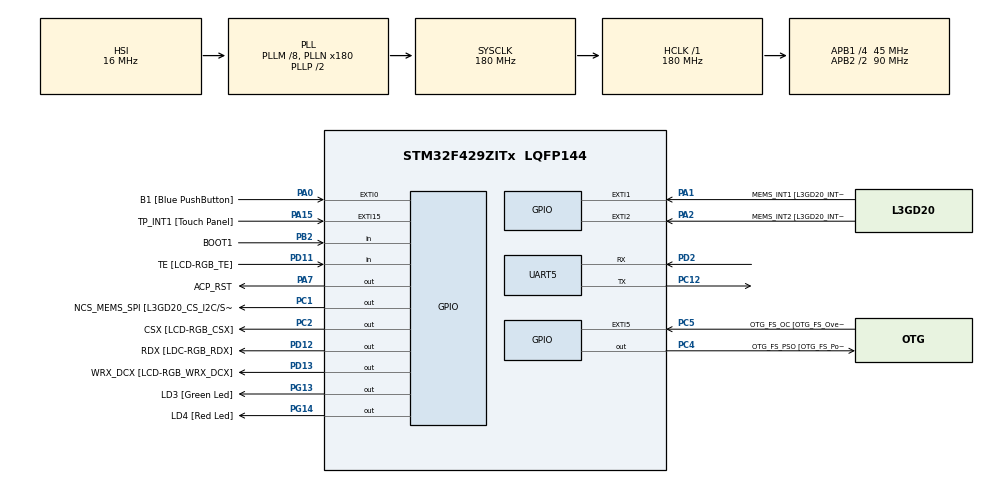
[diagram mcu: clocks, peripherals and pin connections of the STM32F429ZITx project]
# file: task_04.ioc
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FREERTOS.BinarySemaphores01=semFull,Dynamic,NULL;semEmpty,Dynamic,NULL
FREERTOS.Mutexes01=mutex01,Dynamic,NULL
FREERTOS.Tasks01=producer,24,128,producerTask,Default,NULL,Dynamic,NULL,NULL;consumer,24,128,consumerTask,Default,NULL,Dynamic,NULL,NULL
Mcu.Family=STM32F4
Mcu.Name=STM32F429ZITx
Mcu.Package=LQFP144
NVIC.PriorityGroup=NVIC_PRIORITYGROUP_4
PA0/WKUP.GPIO_Label=B1 [Blue PushButton]
PA0/WKUP.GPIO_ModeDefaultEXTI=GPIO_MODE_EVT_RISING
PA0/WKUP.GPIO_PuPd=GPIO_NOPULL
PA0/WKUP.Signal=GPXTI0
PA1.GPIO_Label=MEMS_INT1 [L3GD20_INT1]
PA1.GPIO_ModeDefaultEXTI=GPIO_MODE_EVT_RISING
PA1.GPIO_PuPd=GPIO_NOPULL
PA1.Signal=GPXTI1
PA10.GPIO_Label=STLINK_TX [STM32F103CBT6_PA2]
PA10.Signal=USART1_RX
PA11.GPIO_Label=R4
PA11.GPIO_Mode=GPIO_MODE_AF_PP
PA11.GPIO_PuPd=GPIO_NOPULL
PA11.GPIO_Speed=GPIO_SPEED_FREQ_LOW
PA11.Signal=LTDC_R4
PA12.GPIO_Label=R5
PA12.GPIO_Mode=GPIO_MODE_AF_PP
PA12.GPIO_PuPd=GPIO_NOPULL
PA12.GPIO_Speed=GPIO_SPEED_FREQ_LOW
PA12.Signal=LTDC_R5
PA13.GPIO_Label=SWDIO
PA13.Signal=SYS_JTMS-SWDIO
PA14.GPIO_Label=SWCLK
PA14.Signal=SYS_JTCK-SWCLK
PA15.GPIO_Label=TP_INT1 [Touch Panel]
PA15.GPIO_ModeDefaultEXTI=GPIO_MODE_EVT_RISING
PA15.GPIO_PuPd=GPIO_NOPULL
PA15.Signal=GPXTI15
PA2.GPIO_Label=MEMS_INT2 [L3GD20_INT2]
PA2.GPIO_ModeDefaultEXTI=GPIO_MODE_EVT_RISING
PA2.GPIO_PuPd=GPIO_NOPULL
PA2.Signal=GPXTI2
PA3.GPIO_Label=B5
PA3.GPIO_Mode=GPIO_MODE_AF_PP
PA3.GPIO_PuPd=GPIO_NOPULL
PA3.GPIO_Speed=GPIO_SPEED_FREQ_LOW
PA3.Signal=LTDC_B5
PA4.GPIO_Label=VSYNC
PA4.GPIO_Mode=GPIO_MODE_AF_PP
PA4.GPIO_PuPd=GPIO_NOPULL
PA4.GPIO_Speed=GPIO_SPEED_FREQ_LOW
PA4.Signal=LTDC_VSYNC
PA6.GPIO_Label=G2
PA6.GPIO_Mode=GPIO_MODE_AF_PP
PA6.GPIO_PuPd=GPIO_NOPULL
PA6.GPIO_Speed=GPIO_SPEED_FREQ_LOW
PA6.Signal=LTDC_G2
PA7.GPIO_Label=ACP_RST
PA7.GPIO_Mode=GPIO_MODE_OUTPUT_PP
PA7.GPIO_PuPd=GPIO_NOPULL
PA7.GPIO_Speed=GPIO_SPEED_FREQ_LOW
PA7.Signal=GPIO_Output
PA8.GPIO_Label=I2C3_SCL [ACP/RF_SCL]
PA8.GPIO_Mode=GPIO_MODE_AF_OD
PA8.GPIO_PuPd=GPIO_NOPULL
PA8.GPIO_Speed=GPIO_SPEED_FREQ_LOW
PA8.Signal=I2C3_SCL
PA9.GPIO_Label=STLINK_RX [STM32F103CBT6_PA3]
PA9.Signal=USART1_TX
PB0.GPIO_Label=R3
PB0.GPIO_Mode=GPIO_MODE_AF_PP
PB0.GPIO_PuPd=GPIO_NOPULL
PB0.GPIO_Speed=GPIO_SPEED_FREQ_LOW
PB0.Signal=LTDC_R3
PB1.GPIO_Label=R6
PB1.GPIO_Mode=GPIO_MODE_AF_PP
PB1.GPIO_PuPd=GPIO_NOPULL
PB1.GPIO_Speed=GPIO_SPEED_FREQ_LOW
PB1.Signal=LTDC_R6
PB10.GPIO_Label=G4
PB10.GPIO_Mode=GPIO_MODE_AF_PP
PB10.GPIO_PuPd=GPIO_NOPULL
PB10.GPIO_Speed=GPIO_SPEED_FREQ_LOW
PB10.Signal=LTDC_G4
PB11.GPIO_Label=G5
PB11.GPIO_Mode=GPIO_MODE_AF_PP
PB11.GPIO_PuPd=GPIO_NOPULL
PB11.GPIO_Speed=GPIO_SPEED_FREQ_LOW
PB11.Signal=LTDC_G5
PB12.GPIO_Label=OTG_HS_ID
PB12.GPIO_Mode=GPIO_MODE_AF_PP
PB12.GPIO_PuPd=GPIO_NOPULL
PB12.GPIO_Speed=GPIO_SPEED_FREQ_LOW
PB12.Signal=USB_OTG_HS_ID
PB13.GPIO_Label=VBUS_HS
PB13.GPIO_Mode=GPIO_MODE_INPUT
PB13.GPIO_PuPd=GPIO_NOPULL
PB13.Signal=USB_OTG_HS_VBUS
PB14.GPIO_Label=OTG_HS_DM
PB14.GPIO_Mode=GPIO_MODE_AF_PP
PB14.GPIO_PuPd=GPIO_NOPULL
PB14.GPIO_Speed=GPIO_SPEED_FREQ_LOW
PB14.Signal=USB_OTG_HS_DM
PB15.GPIO_Label=OTG_HS_DP
PB15.GPIO_Mode=GPIO_MODE_AF_PP
PB15.GPIO_PuPd=GPIO_NOPULL
PB15.GPIO_Speed=GPIO_SPEED_FREQ_LOW
PB15.Signal=USB_OTG_HS_DP
PB2/BOOT1.GPIO_Label=BOOT1
PB2/BOOT1.GPIO_Mode=GPIO_MODE_INPUT
PB2/BOOT1.GPIO_PuPd=GPIO_NOPULL
PB2/BOOT1.Signal=GPIO_Input
PB5.GPIO_Label=SDCKE1
PB5.GPIO_Mode=GPIO_MODE_AF_PP
PB5.GPIO_PuPd=GPIO_NOPULL
PB5.GPIO_Speed=GPIO_SPEED_FREQ_VERY_HIGH
PB5.Signal=FMC_SDCKE1
PB6.GPIO_Label=SDNE1 [SDRAM_CS]
PB6.GPIO_Mode=GPIO_MODE_AF_PP
PB6.GPIO_PuPd=GPIO_NOPULL
PB6.GPIO_Speed=GPIO_SPEED_FREQ_VERY_HIGH
PB6.Signal=FMC_SDNE1
PB8.GPIO_Label=B6
PB8.GPIO_Mode=GPIO_MODE_AF_PP
PB8.GPIO_PuPd=GPIO_NOPULL
PB8.GPIO_Speed=GPIO_SPEED_FREQ_LOW
PB8.Signal=LTDC_B6
PB9.GPIO_Label=B7
PB9.GPIO_Mode=GPIO_MODE_AF_PP
PB9.GPIO_PuPd=GPIO_NOPULL
PB9.GPIO_Speed=GPIO_SPEED_FREQ_LOW
PB9.Signal=LTDC_B7
PC0.GPIO_Label=SDNWE
PC0.GPIO_Mode=GPIO_MODE_AF_PP
PC0.GPIO_PuPd=GPIO_NOPULL
PC0.GPIO_Speed=GPIO_SPEED_FREQ_VERY_HIGH
PC0.Signal=FMC_SDNWE
PC1.GPIO_Label=NCS_MEMS_SPI [L3GD20_CS_I2C/SPI]
PC1.GPIO_Mode=GPIO_MODE_OUTPUT_PP
PC1.GPIO_PuPd=GPIO_NOPULL
PC1.GPIO_Speed=GPIO_SPEED_FREQ_LOW
PC1.Signal=GPIO_Output
PC10.GPIO_Label=R2
PC10.GPIO_Mode=GPIO_MODE_AF_PP
PC10.GPIO_PuPd=GPIO_NOPULL
PC10.GPIO_Speed=GPIO_SPEED_FREQ_LOW
PC10.Signal=LTDC_R2
PC12.Mode=Asynchronous
PC12.Signal=UART5_TX
PC14/OSC32_IN.GPIO_Label=PC14-OSC32_IN
PC14/OSC32_IN.Signal=RCC_OSC32_IN
PC15/OSC32_OUT.GPIO_Label=PC15-OSC32_OUT
PC15/OSC32_OUT.Signal=RCC_OSC32_OUT
PC2.GPIO_Label=CSX [LCD-RGB_CSX]
PC2.GPIO_Mode=GPIO_MODE_OUTPUT_PP
PC2.GPIO_PuPd=GPIO_NOPULL
PC2.GPIO_Speed=GPIO_SPEED_FREQ_LOW
PC2.Signal=GPIO_Output
PC4.GPIO_Label=OTG_FS_PSO [OTG_FS_PowerSwitchOn]
PC4.GPIO_Mode=GPIO_MODE_OUTPUT_PP
PC4.GPIO_PuPd=GPIO_NOPULL
PC4.GPIO_Speed=GPIO_SPEED_FREQ_LOW
PC4.Signal=GPIO_Output
PC5.GPIO_Label=OTG_FS_OC [OTG_FS_OverCurrent]
PC5.GPIO_ModeDefaultEXTI=GPIO_MODE_EVT_RISING
PC5.Signal=GPXTI5
PC6.GPIO_Label=HSYNC
PC6.GPIO_Mode=GPIO_MODE_AF_PP
PC6.GPIO_PuPd=GPIO_NOPULL
PC6.GPIO_Speed=GPIO_SPEED_FREQ_LOW
PC6.Signal=LTDC_HSYNC
PC7.GPIO_Label=G6
PC7.GPIO_Mode=GPIO_MODE_AF_PP
PC7.GPIO_PuPd=GPIO_NOPULL
PC7.GPIO_Speed=GPIO_SPEED_FREQ_LOW
PC7.Signal=LTDC_G6
PC9.GPIO_Label=I2C3_SDA [ACP/RF_SDA]
PC9.GPIO_Mode=GPIO_MODE_AF_OD
PC9.GPIO_PuPd=GPIO_NOPULL
PC9.GPIO_Speed=GPIO_SPEED_FREQ_LOW
PC9.Signal=I2C3_SDA
PD0.GPIO_Label=D2
PD0.GPIO_Mode=GPIO_MODE_AF_PP
PD0.GPIO_PuPd=GPIO_NOPULL
PD0.GPIO_Speed=GPIO_SPEED_FREQ_VERY_HIGH
PD0.Signal=FMC_D2_DA2
PD1.GPIO_Label=D3
PD1.GPIO_Mode=GPIO_MODE_AF_PP
PD1.GPIO_PuPd=GPIO_NOPULL
PD1.GPIO_Speed=GPIO_SPEED_FREQ_VERY_HIGH
PD1.Signal=FMC_D3_DA3
PD10.GPIO_Label=D15
PD10.GPIO_Mode=GPIO_MODE_AF_PP
PD10.GPIO_PuPd=GPIO_NOPULL
PD10.GPIO_Speed=GPIO_SPEED_FREQ_VERY_HIGH
PD10.Signal=FMC_D15_DA15
PD11.GPIO_Label=TE [LCD-RGB_TE]
PD11.GPIO_Mode=GPIO_MODE_INPUT
PD11.GPIO_PuPd=GPIO_NOPULL
PD11.Signal=GPIO_Input
PD12.GPIO_Label=RDX [LDC-RGB_RDX]
PD12.GPIO_Mode=GPIO_MODE_OUTPUT_PP
PD12.GPIO_PuPd=GPIO_NOPULL
PD12.GPIO_Speed=GPIO_SPEED_FREQ_LOW
PD12.Signal=GPIO_Output
PD13.GPIO_Label=WRX_DCX [LCD-RGB_WRX_DCX]
PD13.GPIO_Mode=GPIO_MODE_OUTPUT_PP
PD13.GPIO_PuPd=GPIO_NOPULL
PD13.GPIO_Speed=GPIO_SPEED_FREQ_LOW
PD13.Signal=GPIO_Output
PD14.GPIO_Label=D0
PD14.GPIO_Mode=GPIO_MODE_AF_PP
PD14.GPIO_PuPd=GPIO_NOPULL
PD14.GPIO_Speed=GPIO_SPEED_FREQ_VERY_HIGH
PD14.Signal=FMC_D0_DA0
PD15.GPIO_Label=D1
PD15.GPIO_Mode=GPIO_MODE_AF_PP
PD15.GPIO_PuPd=GPIO_NOPULL
PD15.GPIO_Speed=GPIO_SPEED_FREQ_VERY_HIGH
PD15.Signal=FMC_D1_DA1
PD2.Mode=Asynchronous
PD2.Signal=UART5_RX
PD3.GPIO_Label=G7
PD3.GPIO_Mode=GPIO_MODE_AF_PP
PD3.GPIO_PuPd=GPIO_NOPULL
PD3.GPIO_Speed=GPIO_SPEED_FREQ_LOW
PD3.Signal=LTDC_G7
PD6.GPIO_Label=B2
PD6.GPIO_Mode=GPIO_MODE_AF_PP
PD6.GPIO_PuPd=GPIO_NOPULL
PD6.GPIO_Speed=GPIO_SPEED_FREQ_LOW
PD6.Signal=LTDC_B2
PD8.GPIO_Label=D13
PD8.GPIO_Mode=GPIO_MODE_AF_PP
PD8.GPIO_PuPd=GPIO_NOPULL
PD8.GPIO_Speed=GPIO_SPEED_FREQ_VERY_HIGH
PD8.Signal=FMC_D13_DA13
PD9.GPIO_Label=D14
PD9.GPIO_Mode=GPIO_MODE_AF_PP
PD9.GPIO_PuPd=GPIO_NOPULL
PD9.GPIO_Speed=GPIO_SPEED_FREQ_VERY_HIGH
PD9.Signal=FMC_D14_DA14
PE0.GPIO_Label=NBL0 [SDRAM_LDQM]
PE0.GPIO_Mode=GPIO_MODE_AF_PP
PE0.GPIO_PuPd=GPIO_NOPULL
PE0.GPIO_Speed=GPIO_SPEED_FREQ_VERY_HIGH
PE0.Signal=FMC_NBL0
PE1.GPIO_Label=NBL1 [SDRAM_UDQM]
PE1.GPIO_Mode=GPIO_MODE_AF_PP
PE1.GPIO_PuPd=GPIO_NOPULL
PE1.GPIO_Speed=GPIO_SPEED_FREQ_VERY_HIGH
PE1.Signal=FMC_NBL1
PE10.GPIO_Label=D7
PE10.GPIO_Mode=GPIO_MODE_AF_PP
PE10.GPIO_PuPd=GPIO_NOPULL
PE10.GPIO_Speed=GPIO_SPEED_FREQ_VERY_HIGH
PE10.Signal=FMC_D7_DA7
PE11.GPIO_Label=D8
PE11.GPIO_Mode=GPIO_MODE_AF_PP
PE11.GPIO_PuPd=GPIO_NOPULL
PE11.GPIO_Speed=GPIO_SPEED_FREQ_VERY_HIGH
PE11.Signal=FMC_D8_DA8
PE12.GPIO_Label=D9
PE12.GPIO_Mode=GPIO_MODE_AF_PP
PE12.GPIO_PuPd=GPIO_NOPULL
PE12.GPIO_Speed=GPIO_SPEED_FREQ_VERY_HIGH
PE12.Signal=FMC_D9_DA9
PE13.GPIO_Label=D10
PE13.GPIO_Mode=GPIO_MODE_AF_PP
PE13.GPIO_PuPd=GPIO_NOPULL
PE13.GPIO_Speed=GPIO_SPEED_FREQ_VERY_HIGH
PE13.Signal=FMC_D10_DA10
PE14.GPIO_Label=D11
PE14.GPIO_Mode=GPIO_MODE_AF_PP
PE14.GPIO_PuPd=GPIO_NOPULL
PE14.GPIO_Speed=GPIO_SPEED_FREQ_VERY_HIGH
PE14.Signal=FMC_D11_DA11
PE15.GPIO_Label=D12
PE15.GPIO_Mode=GPIO_MODE_AF_PP
PE15.GPIO_PuPd=GPIO_NOPULL
PE15.GPIO_Speed=GPIO_SPEED_FREQ_VERY_HIGH
PE15.Signal=FMC_D12_DA12
PE7.GPIO_Label=D4
PE7.GPIO_Mode=GPIO_MODE_AF_PP
PE7.GPIO_PuPd=GPIO_NOPULL
PE7.GPIO_Speed=GPIO_SPEED_FREQ_VERY_HIGH
PE7.Signal=FMC_D4_DA4
PE8.GPIO_Label=D5
PE8.GPIO_Mode=GPIO_MODE_AF_PP
PE8.GPIO_PuPd=GPIO_NOPULL
PE8.GPIO_Speed=GPIO_SPEED_FREQ_VERY_HIGH
PE8.Signal=FMC_D5_DA5
PE9.GPIO_Label=D6
PE9.GPIO_Mode=GPIO_MODE_AF_PP
PE9.GPIO_PuPd=GPIO_NOPULL
PE9.GPIO_Speed=GPIO_SPEED_FREQ_VERY_HIGH
PE9.Signal=FMC_D6_DA6
PF0.GPIO_Label=A0
PF0.GPIO_Mode=GPIO_MODE_AF_PP
PF0.GPIO_PuPd=GPIO_NOPULL
PF0.GPIO_Speed=GPIO_SPEED_FREQ_VERY_HIGH
PF0.Signal=FMC_A0
PF1.GPIO_Label=A1
PF1.GPIO_Mode=GPIO_MODE_AF_PP
PF1.GPIO_PuPd=GPIO_NOPULL
PF1.GPIO_Speed=GPIO_SPEED_FREQ_VERY_HIGH
PF1.Signal=FMC_A1
PF10.GPIO_Label=ENABLE [LCD-RGB_ENABLE]
PF10.GPIO_Mode=GPIO_MODE_AF_PP
PF10.GPIO_PuPd=GPIO_NOPULL
PF10.GPIO_Speed=GPIO_SPEED_FREQ_LOW
PF10.Signal=LTDC_DE
PF11.GPIO_Label=SDNRAS
PF11.GPIO_Mode=GPIO_MODE_AF_PP
PF11.GPIO_PuPd=GPIO_NOPULL
PF11.GPIO_Speed=GPIO_SPEED_FREQ_VERY_HIGH
PF11.Signal=FMC_SDNRAS
PF12.GPIO_Label=A6
PF12.GPIO_Mode=GPIO_MODE_AF_PP
PF12.GPIO_PuPd=GPIO_NOPULL
PF12.GPIO_Speed=GPIO_SPEED_FREQ_VERY_HIGH
PF12.Signal=FMC_A6
PF13.GPIO_Label=A7
PF13.GPIO_Mode=GPIO_MODE_AF_PP
PF13.GPIO_PuPd=GPIO_NOPULL
PF13.GPIO_Speed=GPIO_SPEED_FREQ_VERY_HIGH
PF13.Signal=FMC_A7
PF14.GPIO_Label=A8
PF14.GPIO_Mode=GPIO_MODE_AF_PP
PF14.GPIO_PuPd=GPIO_NOPULL
PF14.GPIO_Speed=GPIO_SPEED_FREQ_VERY_HIGH
PF14.Signal=FMC_A8
PF15.GPIO_Label=A9
PF15.GPIO_Mode=GPIO_MODE_AF_PP
PF15.GPIO_PuPd=GPIO_NOPULL
PF15.GPIO_Speed=GPIO_SPEED_FREQ_VERY_HIGH
PF15.Signal=FMC_A9
PF2.GPIO_Label=A2
PF2.GPIO_Mode=GPIO_MODE_AF_PP
PF2.GPIO_PuPd=GPIO_NOPULL
PF2.GPIO_Speed=GPIO_SPEED_FREQ_VERY_HIGH
PF2.Signal=FMC_A2
PF3.GPIO_Label=A3
PF3.GPIO_Mode=GPIO_MODE_AF_PP
PF3.GPIO_PuPd=GPIO_NOPULL
PF3.GPIO_Speed=GPIO_SPEED_FREQ_VERY_HIGH
PF3.Signal=FMC_A3
PF4.GPIO_Label=A4
PF4.GPIO_Mode=GPIO_MODE_AF_PP
PF4.GPIO_PuPd=GPIO_NOPULL
PF4.GPIO_Speed=GPIO_SPEED_FREQ_VERY_HIGH
PF4.Signal=FMC_A4
PF5.GPIO_Label=A5
PF5.GPIO_Mode=GPIO_MODE_AF_PP
PF5.GPIO_PuPd=GPIO_NOPULL
PF5.GPIO_Speed=GPIO_SPEED_FREQ_VERY_HIGH
PF5.Signal=FMC_A5
PF7.GPIO_Label=SPI5_SCK [L3GD20_SCL/SPC]
PF7.GPIO_Mode=GPIO_MODE_AF_PP
PF7.GPIO_PuPd=GPIO_NOPULL
PF7.GPIO_Speed=GPIO_SPEED_FREQ_LOW
PF7.Signal=SPI5_SCK
PF8.GPIO_Label=SPI5_MISO [L3GD20_SDO]
PF8.GPIO_Mode=GPIO_MODE_AF_PP
PF8.GPIO_PuPd=GPIO_NOPULL
PF8.GPIO_Speed=GPIO_SPEED_FREQ_LOW
PF8.Signal=SPI5_MISO
PF9.GPIO_Label=SPI5_MOSI [L3GD20_SDA/SDI/SDO]
PF9.GPIO_Mode=GPIO_MODE_AF_PP
PF9.GPIO_PuPd=GPIO_NOPULL
PF9.GPIO_Speed=GPIO_SPEED_FREQ_LOW
PF9.Signal=SPI5_MOSI
PG0.GPIO_Label=A10
PG0.GPIO_Mode=GPIO_MODE_AF_PP
PG0.GPIO_PuPd=GPIO_NOPULL
PG0.GPIO_Speed=GPIO_SPEED_FREQ_VERY_HIGH
PG0.Signal=FMC_A10
PG1.GPIO_Label=A11
PG1.GPIO_Mode=GPIO_MODE_AF_PP
PG1.GPIO_PuPd=GPIO_NOPULL
PG1.GPIO_Speed=GPIO_SPEED_FREQ_VERY_HIGH
PG1.Signal=FMC_A11
PG10.GPIO_Label=G3
PG10.GPIO_Mode=GPIO_MODE_AF_PP
PG10.GPIO_PuPd=GPIO_NOPULL
PG10.GPIO_Speed=GPIO_SPEED_FREQ_LOW
PG10.Signal=LTDC_G3
PG11.GPIO_Label=B3
PG11.GPIO_Mode=GPIO_MODE_AF_PP
PG11.GPIO_PuPd=GPIO_NOPULL
PG11.GPIO_Speed=GPIO_SPEED_FREQ_LOW
PG11.Signal=LTDC_B3
PG12.GPIO_Label=B4
PG12.GPIO_Mode=GPIO_MODE_AF_PP
PG12.GPIO_PuPd=GPIO_NOPULL
PG12.GPIO_Speed=GPIO_SPEED_FREQ_LOW
PG12.Signal=LTDC_B4
PG13.GPIO_Label=LD3 [Green Led]
PG13.GPIO_Mode=GPIO_MODE_OUTPUT_PP
PG13.GPIO_PuPd=GPIO_NOPULL
PG13.GPIO_Speed=GPIO_SPEED_FREQ_LOW
PG13.Signal=GPIO_Output
PG14.GPIO_Label=LD4 [Red Led]
PG14.GPIO_Mode=GPIO_MODE_OUTPUT_PP
PG14.GPIO_PuPd=GPIO_NOPULL
PG14.GPIO_Speed=GPIO_SPEED_FREQ_LOW
PG14.Signal=GPIO_Output
PG15.GPIO_Label=SDNCAS
PG15.GPIO_Mode=GPIO_MODE_AF_PP
PG15.GPIO_PuPd=GPIO_NOPULL
PG15.GPIO_Speed=GPIO_SPEED_FREQ_VERY_HIGH
PG15.Signal=FMC_SDNCAS
PG4.GPIO_Label=BA0
PG4.GPIO_Mode=GPIO_MODE_AF_PP
PG4.GPIO_PuPd=GPIO_NOPULL
PG4.GPIO_Speed=GPIO_SPEED_FREQ_VERY_HIGH
PG4.Signal=FMC_A14_BA0
PG5.GPIO_Label=BA1
PG5.GPIO_Mode=GPIO_MODE_AF_PP
PG5.GPIO_PuPd=GPIO_NOPULL
PG5.GPIO_Speed=GPIO_SPEED_FREQ_VERY_HIGH
PG5.Signal=FMC_A15_BA1
PG6.GPIO_Label=R7
PG6.GPIO_Mode=GPIO_MODE_AF_PP
PG6.GPIO_PuPd=GPIO_NOPULL
PG6.GPIO_Speed=GPIO_SPEED_FREQ_LOW
PG6.Signal=LTDC_R7
PG7.GPIO_Label=DOTCLK [LCT-RGB_DOTCLK]
PG7.GPIO_Mode=GPIO_MODE_AF_PP
PG7.GPIO_PuPd=GPIO_NOPULL
PG7.GPIO_Speed=GPIO_SPEED_FREQ_LOW
PG7.Signal=LTDC_CLK
PG8.GPIO_Label=SDCLK
PG8.GPIO_Mode=GPIO_MODE_AF_PP
PG8.GPIO_PuPd=GPIO_NOPULL
PG8.GPIO_Speed=GPIO_SPEED_FREQ_VERY_HIGH
PG8.Signal=FMC_SDCLK
PH0/OSC_IN.GPIO_Label=PH0-OSC_IN
PH0/OSC_IN.Signal=RCC_OSC_IN
PH1/OSC_OUT.GPIO_Label=PH1-OSC_OUT
PH1/OSC_OUT.Signal=RCC_OSC_OUT
ProjectManager.HeapSize=0x200
ProjectManager.StackSize=0x400
ProjectManager.TargetToolchain=Makefile
RCC.48MHZClocksFreq_Value=51428571.428571425
RCC.AHBFreq_Value=180000000
RCC.APB1CLKDivider=RCC_HCLK_DIV4
RCC.APB1Freq_Value=45000000
RCC.APB1TimFreq_Value=90000000
RCC.APB2CLKDivider=RCC_HCLK_DIV2
RCC.APB2Freq_Value=90000000
RCC.APB2TimFreq_Value=180000000
RCC.CortexFreq_Value=180000000
RCC.HCLKFreq_Value=180000000
RCC.HSE_VALUE=8000000
RCC.HSI_VALUE=16000000
RCC.LSE_VALUE=32768
RCC.PLLM=8
RCC.PLLN=180
RCC.PLLQ=7
RCC.SYSCLKFreq_VALUE=180000000
RCC.SYSCLKSource=RCC_SYSCLKSOURCE_PLLCLK
RCC.VCOOutputFreq_Value=360000000
SH.FMC_A0.0=FMC_A0
SH.FMC_A1.0=FMC_A1
SH.FMC_A10.0=FMC_A10
SH.FMC_A11.0=FMC_A11
SH.FMC_A14_BA0.0=FMC_BA0
SH.FMC_A15_BA1.0=FMC_BA1
SH.FMC_A2.0=FMC_A2
SH.FMC_A3.0=FMC_A3
SH.FMC_A4.0=FMC_A4
SH.FMC_A5.0=FMC_A5
SH.FMC_A6.0=FMC_A6
SH.FMC_A7.0=FMC_A7
SH.FMC_A8.0=FMC_A8
SH.FMC_A9.0=FMC_A9
SH.FMC_D0_DA0.0=FMC_D0
SH.FMC_D10_DA10.0=FMC_D10
SH.FMC_D11_DA11.0=FMC_D11
SH.FMC_D12_DA12.0=FMC_D12
SH.FMC_D13_DA13.0=FMC_D13
SH.FMC_D14_DA14.0=FMC_D14
SH.FMC_D15_DA15.0=FMC_D15
SH.FMC_D1_DA1.0=FMC_D1
SH.FMC_D2_DA2.0=FMC_D2
SH.FMC_D3_DA3.0=FMC_D3
SH.FMC_D4_DA4.0=FMC_D4
SH.FMC_D5_DA5.0=FMC_D5
SH.FMC_D6_DA6.0=FMC_D6
SH.FMC_D7_DA7.0=FMC_D7
SH.FMC_D8_DA8.0=FMC_D8
SH.FMC_D9_DA9.0=FMC_D9
SH.FMC_NBL0.0=FMC_NBL0
SH.FMC_NBL1.0=FMC_NBL1
SH.FMC_SDCLK.0=FMC_SDCLK
SH.FMC_SDNCAS.0=FMC_SDNCAS
SH.FMC_SDNRAS.0=FMC_SDNRAS
SH.FMC_SDNWE.0=FMC_SDNWE
UART5.VirtualMode=Asynchronous
VP_FREERTOS_VS_CMSIS_V2.Mode=CMSIS_V2
board=STM32F429I-DISC1

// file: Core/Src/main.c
/* USER CODE BEGIN Header */
/**
  ******************************************************************************
  * @file           : main.c
  * @brief          : Main program body
  ******************************************************************************
  * @attention
  *
  * Copyright (c) 2023 STMicroelectronics.
  * All rights reserved.
  *
  * This software is licensed under terms that can be found in the LICENSE file
  * in the root directory of this software component.
  * If no LICENSE file comes with this software, it is provided AS-IS.
  *
  ******************************************************************************
  */
/* USER CODE END Header */
#include "main.h"
#include "cmsis_os.h"
#include "usart.h"
#include "gpio.h"

void SystemClock_Config(void);
void MX_FREERTOS_Init(void);

int main(void)
{

  /* MCU Configuration--------------------------------------------------------*/

  /* Reset of all peripherals, Initializes the Flash interface and the Systick. */
  HAL_Init();

  /* Configure the system clock */
  SystemClock_Config();

  /* Initialize all configured peripherals */
  MX_GPIO_Init();
  MX_UART5_Init();

  /* Init scheduler */
  osKernelInitialize();  /* Call init function for freertos objects (in freertos.c) */
  MX_FREERTOS_Init();

  /* Start scheduler */
  osKernelStart();

  /* We should never get here as control is now taken by the scheduler */
  /* Infinite loop */
  while (1)
  {

  }
}

void SystemClock_Config(void)
{
  RCC_OscInitTypeDef RCC_OscInitStruct = {0};
  RCC_ClkInitTypeDef RCC_ClkInitStruct = {0};

  /** Configure the main internal regulator output voltage
  */
  __HAL_RCC_PWR_CLK_ENABLE();
  __HAL_PWR_VOLTAGESCALING_CONFIG(PWR_REGULATOR_VOLTAGE_SCALE1);

  /** Initializes the RCC Oscillators according to the specified parameters
  * in the RCC_OscInitTypeDef structure.
  */
  RCC_OscInitStruct.OscillatorType = RCC_OSCILLATORTYPE_HSI;
  RCC_OscInitStruct.HSIState = RCC_HSI_ON;
  RCC_OscInitStruct.HSICalibrationValue = RCC_HSICALIBRATION_DEFAULT;
  RCC_OscInitStruct.PLL.PLLState = RCC_PLL_ON;
  RCC_OscInitStruct.PLL.PLLSource = RCC_PLLSOURCE_HSI;
  RCC_OscInitStruct.PLL.PLLM = 8;
  RCC_OscInitStruct.PLL.PLLN = 180;
  RCC_OscInitStruct.PLL.PLLP = RCC_PLLP_DIV2;
  RCC_OscInitStruct.PLL.PLLQ = 7;
  if (HAL_RCC_OscConfig(&RCC_OscInitStruct) != HAL_OK)
  {
    Error_Handler();
  }

  /** Activate the Over-Drive mode
  */
  if (HAL_PWREx_EnableOverDrive() != HAL_OK)
  {
    Error_Handler();
  }

  /** Initializes the CPU, AHB and APB buses clocks
  */
  RCC_ClkInitStruct.ClockType = RCC_CLOCKTYPE_HCLK|RCC_CLOCKTYPE_SYSCLK
                              |RCC_CLOCKTYPE_PCLK1|RCC_CLOCKTYPE_PCLK2;
  RCC_ClkInitStruct.SYSCLKSource = RCC_SYSCLKSOURCE_PLLCLK;
  RCC_ClkInitStruct.AHBCLKDivider = RCC_SYSCLK_DIV1;
  RCC_ClkInitStruct.APB1CLKDivider = RCC_HCLK_DIV4;
  RCC_ClkInitStruct.APB2CLKDivider = RCC_HCLK_DIV2;

  if (HAL_RCC_ClockConfig(&RCC_ClkInitStruct, FLASH_LATENCY_5) != HAL_OK)
  {
    Error_Handler();
  }
}

void Error_Handler(void)
{
  __disable_irq();
  while (1)
  {
  }
}

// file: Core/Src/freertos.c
/* USER CODE BEGIN Header */
/**
  ******************************************************************************
  * File Name          : freertos.c
  * Description        : Code for freertos applications
  ******************************************************************************
  * @attention
  *
  * Copyright (c) 2023 STMicroelectronics.
  * All rights reserved.
  *
  * This software is licensed under terms that can be found in the LICENSE file
  * in the root directory of this software component.
  * If no LICENSE file comes with this software, it is provided AS-IS.
  *
  ******************************************************************************
  */
/* USER CODE END Header */

#include "FreeRTOS.h"
#include "task.h"
#include "main.h"
#include "cmsis_os.h"

/* USER CODE BEGIN Includes */
#include "usart.h"
/* USER CODE END Includes */

/* USER CODE BEGIN Variables */
static uint32_t shared_buffer[10] = {0};
int count = 0;
/* USER CODE END Variables */
/* Definitions for producer */
osThreadId_t producerHandle;
const osThreadAttr_t producer_attributes = {
  .name = "producer",
  .stack_size = 128 * 4,
  .priority = (osPriority_t) osPriorityNormal,
};
/* Definitions for consumer */
osThreadId_t consumerHandle;
const osThreadAttr_t consumer_attributes = {
  .name = "consumer",
  .stack_size = 128 * 4,
  .priority = (osPriority_t) osPriorityNormal,
};
/* Definitions for mutex01 */
osMutexId_t mutex01Handle;
const osMutexAttr_t mutex01_attributes = {
  .name = "mutex01"
};
/* Definitions for semFull */
osSemaphoreId_t semFullHandle;
const osSemaphoreAttr_t semFull_attributes = {
  .name = "semFull"
};
/* Definitions for semEmpty */
osSemaphoreId_t semEmptyHandle;
const osSemaphoreAttr_t semEmpty_attributes = {
  .name = "semEmpty"
};

void producerTask(void *argument);
void consumerTask(void *argument);

void MX_FREERTOS_Init(void); /* (MISRA C 2004 rule 8.1) */

void MX_FREERTOS_Init(void) {
  /* Create the mutex(es) */
  /* creation of mutex01 */
  mutex01Handle = osMutexNew(&mutex01_attributes);

  /* Create the semaphores(s) */
  /* creation of semFull */
  semFullHandle = osSemaphoreNew(1, 1, &semFull_attributes);

  /* creation of semEmpty */
  semEmptyHandle = osSemaphoreNew(1, 1, &semEmpty_attributes);

  /* Create the thread(s) */
  /* creation of producer */
  producerHandle = osThreadNew(producerTask, NULL, &producer_attributes);

  /* creation of consumer */
  consumerHandle = osThreadNew(consumerTask, NULL, &consumer_attributes);

}

void producerTask(void *argument)
{
  /* USER CODE BEGIN producerTask */
  /* Infinite loop */
  for(;;)
  {
    // Generated in the 500 ms interval
    osSemaphoreAcquire(semEmptyHandle, osWaitForever);
    if (count < 10) {
      shared_buffer[count] = osKernelGetTickCount();
      count++;
      HAL_UART_Transmit(&huart5, (uint8_t*)"Produced an item\r\n", 18, 100);
    } else {
      HAL_UART_Transmit(&huart5, (uint8_t*)"Waiting to be consumed\r\n", 22, 100);
    }
    osSemaphoreRelease(semFullHandle);
    osDelay(500); //
  }
  /* USER CODE END producerTask */
}

void consumerTask(void *argument)
{
  /* USER CODE BEGIN consumerTask */
  /* Infinite loop */
  for(;;)
  {
    osSemaphoreAcquire(semFullHandle, osWaitForever);
    if (count > 0) {
      int temp_value = shared_buffer[count];
      count--;
      HAL_UART_Transmit(&huart5, (uint8_t*)"Consumed an item\r\n", 18, 100);
    } else {
      HAL_UART_Transmit(&huart5, (uint8_t*)"Noitem to consume\r\n", 19, 100);
    }
    osSemaphoreRelease(semEmptyHandle);
    osDelay(1);
  }
  /* USER CODE END consumerTask */
}
